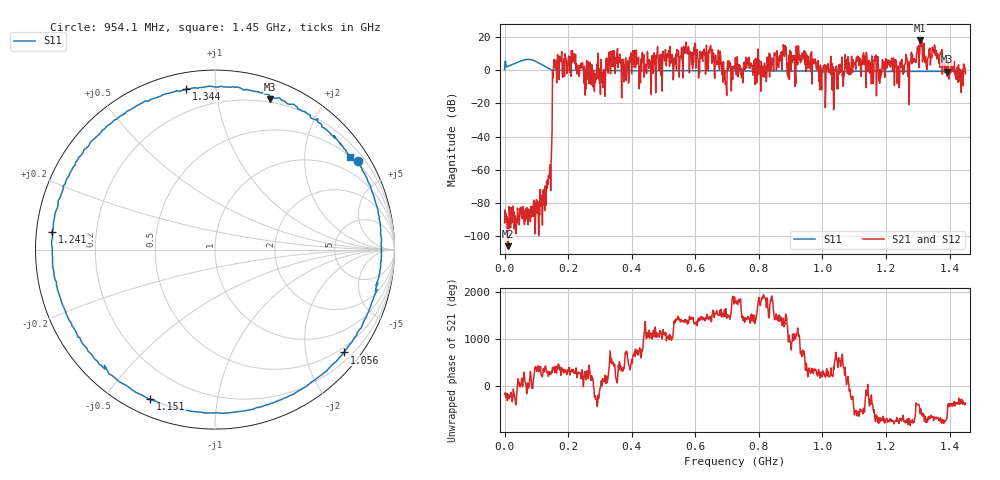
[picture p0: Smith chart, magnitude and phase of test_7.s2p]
! Created with skrf 1.11.0 (http://scikit-rf.org).
# Hz S RI R 50.0
!freq ReS11 ImS11 ReS21 ImS21 ReS12 ImS12 ReS22 ImS22
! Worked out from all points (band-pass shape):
!   1001 points, 50 kHz to 1.45 GHz, reference 50 ohm
!   highest |S21| = 17.77 dB at 1.308 GHz (marker M1); lowest = -105.9 dB at 10.2 MHz (marker M2)
!   |S21| within 3 dB of the highest: 598.5602 MHz to 600.3352 MHz (1.775 MHz wide, 0.296 % of centre); 1.309668 GHz to 1.31394 GHz (4.272 MHz wide, 0.326 % of centre) (the widest 2 of 8)
!   lowest |S11| = -1.0 dB at 1.392 GHz (marker M3), VSWR 17.27, Z = 8.75 + j70.7 ohm
!   |S11| at or under -10 dB: nowhere
!   |S22| runs from - to - dB; largest |S21 - S12| = 0
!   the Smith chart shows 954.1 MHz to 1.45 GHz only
!   S11 on the Smith chart (normalised r, x): 954.1 MHz: 0.43, +3.47; 1.056 GHz: 0.38, -2.81; 1.151 GHz: 0.07, -0.65; 1.241 GHz: 0.05, +0.05; 1.344 GHz: 0.08, +0.83; 1.45 GHz: 0.51, +3.16
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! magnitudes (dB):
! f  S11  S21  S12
! 50 kHz  0.2  -91.8  -91.8
! 10.2 MHz  2.3  -105.9  -105.9
! 123.3 MHz  2.6  -81.0  -81.0
! 142.1 MHz  0.6  -59.0  -59.0
! 158.1 MHz  -0.1  1.9  1.9
! 242.2 MHz  -0.2  4.1  4.1
! 308.9 MHz  -0.4  -7.4  -7.4
! 335 MHz  -0.3  11.1  11.1
! 484.3 MHz  -0.4  2.4  2.4
! 571.3 MHz  -0.4  16.8  16.8
! 691.7 MHz  -0.4  -1.6  -1.6
! 725 MHz  -0.5  3.2  3.2
! 954.1 MHz  -0.6  1.3  1.3
! 967.2 MHz  -0.6  -8.4  -8.4
! 1.056 GHz  -0.7  3.6  3.6
! 1.151 GHz  -0.8  3.0  3.0
! 1.209 GHz  -0.9  5.5  5.5
! 1.241 GHz  -0.8  -10.7  -10.7
! 1.308 GHz  -0.8  17.8  17.8
! 1.344 GHz  -0.8  7.4  7.4
! 1.392 GHz  -1.0  2.7  2.7
! 1.45 GHz  -0.8  -2.3  -2.3
